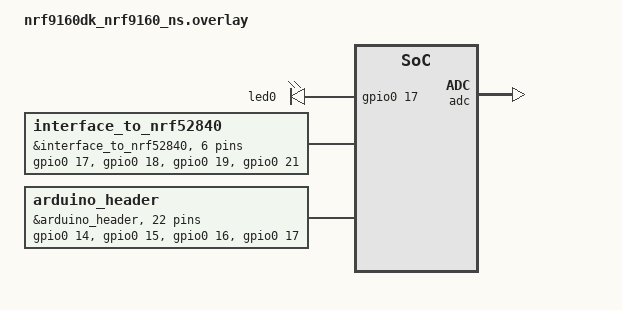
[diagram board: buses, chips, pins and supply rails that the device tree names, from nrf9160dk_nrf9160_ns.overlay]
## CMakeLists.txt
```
# SPDX-License-Identifier: Apache-2.0

cmake_minimum_required(VERSION 3.20.0)

set(COMMON_PATH ../hal_nordic-master/nrfx/samples/common)
include(${COMMON_PATH}/common.cmake)

GET_DEVICE_CONFIG_FILES(${BOARD} ../boards)

find_package(Zephyr REQUIRED HINTS $ENV{ZEPHYR_BASE})
project(adc_terminal)

target_sources(app PRIVATE src/main.c)
target_include_directories(app PRIVATE ../hal_nordic-master/nrfx/samples/common ../hal_nordic-master/nrfx/samples/src/nrfx_saadc/common)
```

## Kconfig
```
#
# Copyright (c) 2020 Nordic Semiconductor ASA
#
# SPDX-License-Identifier: LicenseRef-Nordic-5-Clause
#

menu "ADC Terminal Settings"

module = ADC_TERMINAL
module-str = ADC Terminal
source "${ZEPHYR_BASE}/subsys/logging/Kconfig.template.log_config"

endmenu

menu "Zephyr Kernel"
source "Kconfig.zephyr"
endmenu
```

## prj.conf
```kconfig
CONFIG_LOG=y
CONFIG_ADC_TERMINAL_LOG_LEVEL_INF=y
CONFIG_LOG_MODE_IMMEDIATE=y


CONFIG_ADC=y
CONFIG_NRFX_GPIOTE=y
CONFIG_NRFX_SAADC=y

CONFIG_NEWLIB_LIBC=y
CONFIG_NEWLIB_LIBC_FLOAT_PRINTF=y

CONFIG_ASSERT=y
```

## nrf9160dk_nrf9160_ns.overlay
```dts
// To get started, press Ctrl+Space (or Option+Esc) to bring up the completion menu and view the available nodes.

// You can also use the buttons in the sidebar to perform actions on nodes.
// Actions currently available include:

// * Enabling / disabling the node
// * Adding the bus to a bus
// * Removing the node
// * Connecting ADC channels

// For more help, browse the DeviceTree documentation at https://docs.zephyrproject.org/latest/guides/dts/index.html
// You can also visit the nRF DeviceTree extension documentation at https://nrfconnect.github.io/vscode-nrf-connect/devicetree/nrfdevicetree.html

&led0 {
    gpios = < &gpio0 17 0 >;
};

&interface_to_nrf52840 {
    gpio-map = <0 0 &gpio0 17 0>,
               <1 0 &gpio0 18 0>,
               <2 0 &gpio0 19 0>,
               <3 0 &gpio0 21 0>,
               <4 0 &gpio0 22 0>,
               <5 0 &gpio0 23 0>;
};

&arduino_adc {
    io-channel-map = <0 &adc 1>, <1 &adc 0>, <2 &adc 3>, <3 &adc 4>, <4 &adc 5>, <5 &adc 6>;
};

&arduino_header {
    gpio-map = <0 0 &gpio0 14 0>,
               <1 0 &gpio0 15 0>,
               <2 0 &gpio0 16 0>,
               <3 0 &gpio0 17 0>,
               <4 0 &gpio0 18 0>,
               <5 0 &gpio0 19 0>,
               <6 0 &gpio0 0 0>,
               <7 0 &gpio0 1 0>,
               <8 0 &gpio0 2 0>,
               <9 0 &gpio0 3 0>,
               <10 0 &gpio0 4 0>,
               <11 0 &gpio0 5 0>,
               <12 0 &gpio0 6 0>,
               <13 0 &gpio0 7 0>,
               <14 0 &gpio0 8 0>,
               <15 0 &gpio0 9 0>,
               <16 0 &gpio0 10 0>,
               <17 0 &gpio0 11 0>,
               <18 0 &gpio0 12 0>,
               <19 0 &gpio0 13 0>,
               <20 0 &gpio0 30 0>,
               <21 0 &gpio0 31 0>;
};


&adc {
    status = "okay";
    compatible = "nordic,nrf-saadc";
};

&gpiote {
    status = "okay";
};
```

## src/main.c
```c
#include <zephyr/kernel.h>
#include <zephyr/device.h>
#include <zephyr/drivers/gpio.h>
#include <zephyr/drivers/adc.h>
#include <zephyr/logging/log.h>
#include <stdio.h>
#include <string.h>
#include <nrfx_saadc.h>
#include <nrfx_gpiote.h>

#define ADC_1ST_CHANNEL_INPUT NRF_SAADC_INPUT_AIN1
#define BUFFER_SIZE 2UL
#define SAMPLING_ITERATIONS 4UL
#define ADC_RESOLUTION NRF_SAADC_RESOLUTION_14BIT
#define ADC_GAIN ADC_GAIN_1_4
#define ADC_REFERENCE ADC_REF_VDD_1_4
#define ADC_ACQUISITION_TIME ADC_ACQ_TIME(ADC_ACQ_TIME_MICROSECONDS, 20)
#define SLEEP_TIME_MS 700
#define ADC_OVERSAMPLING SAADC_OVERSAMPLE_OVERSAMPLE_Over256x
#define VDD_GPIO 1800
#define MAX_FLOAT_STR_SIZE 15

LOG_MODULE_REGISTER(adc_terminal, CONFIG_ADC_TERMINAL_LOG_LEVEL);

static nrf_saadc_value_t m_samples_buffer[BUFFER_SIZE];

float custom_raw_to_milli(int raw) {
    //Hard coded values, change with Gain/Resolution Stuff
    float denominator = 0.00055556; //.25/VDD_4
    int exponent = 16384; //2^RESOLUTION

    // Calculate [V(P) - V(N)]
    // char denominator_str[MAX_FLOAT_STR_SIZE];
    // snprintf(denominator_str, MAX_FLOAT_STR_SIZE, "%f", denominator);
    // LOG_INF("RAW TO MILLI %d / ((%s) * %d)\n", raw, denominator_str, exponent);
    float voltageDifference = (raw / (denominator * exponent));

    return voltageDifference;
}


static const nrfx_saadc_channel_t nrf_1st_channel = {
	.channel_config = {
		.resistor_p = NRF_SAADC_RESISTOR_DISABLED,
		.resistor_n = NRF_SAADC_RESISTOR_DISABLED,
		.gain = ADC_GAIN,
		.reference = ADC_REFERENCE,
		.acq_time = ADC_ACQUISITION_TIME,
		.mode = NRF_SAADC_MODE_SINGLE_ENDED,
		.burst = NRF_SAADC_BURST_ENABLED,
	},
	.pin_p = ADC_1ST_CHANNEL_INPUT,
	.pin_n = NRF_SAADC_INPUT_DISABLED,
	.channel_index = 0
};


int main(void)
{
	struct gpio_dt_spec p17 = GPIO_DT_SPEC_GET(DT_NODELABEL(led0), gpios);
	struct gpio_dt_spec led1 = GPIO_DT_SPEC_GET(DT_ALIAS(led1), gpios);

	if (!device_is_ready(p17.port)) return -1;
	if (!device_is_ready(led1.port)) return -1;
	
	nrfx_err_t status;
    (void)status;


    LOG_INF("Starting the nrf9160 ADC-Terminal with the reworked adc configuration.\n");

    status = nrfx_saadc_init(NRFX_SAADC_DEFAULT_CONFIG_IRQ_PRIORITY);
    NRFX_ASSERT(status == NRFX_SUCCESS);

    status = nrfx_saadc_channel_config(&nrf_1st_channel);
    NRFX_ASSERT(status == NRFX_SUCCESS);

	nrfx_saadc_adv_config_t nrf_adv_1st_cfg = {
		.oversampling = ADC_OVERSAMPLING,
		.burst = NRF_SAADC_BURST_ENABLED,
	};

	uint32_t channel_mask = nrfx_saadc_channels_configured_get();
    status = nrfx_saadc_advanced_mode_set(channel_mask,
                                          ADC_RESOLUTION,
                                          &nrf_adv_1st_cfg,
                                          NULL);
    NRFX_ASSERT(status == NRFX_SUCCESS);

    status = nrfx_saadc_buffer_set(m_samples_buffer, BUFFER_SIZE);
    NRFX_ASSERT(status == NRFX_SUCCESS);

	int err;
	err = gpio_pin_configure_dt(&p17, GPIO_OUTPUT);
	err = gpio_pin_configure_dt(&led1, GPIO_OUTPUT_ACTIVE);


	
	if (err) return err;

    uint16_t sampling_index = 0;
	while (1) {
        	err = gpio_pin_set_dt(&p17, 1);
	        err = gpio_pin_set_dt(&led1, 1);

            status = nrfx_saadc_offset_calibrate(NULL);
            NRFX_ASSERT(status == NRFX_SUCCESS);
            LOG_INF("Calibration in the blocking manner finished successfully.");

            /*
             * If function nrfx_saadc_mode_trigger() returns NRFX_ERROR_BUSY it means that the conversion in the advanced
             * blocking mode is still being performed. Then the function must be called again to continue the conversion.
             */
            while ((status = nrfx_saadc_mode_trigger()) == NRFX_ERROR_BUSY)
            {}
            NRFX_ASSERT(status == NRFX_SUCCESS);
            LOG_INF("Sample %d", sampling_index + 1);
            float volt = 0;

            for (uint32_t buffer_index = 0; buffer_index < BUFFER_SIZE; buffer_index++)
            {   
                volt = m_samples_buffer[buffer_index];
                volt = custom_raw_to_milli(volt);
                char float_str[MAX_FLOAT_STR_SIZE];
                snprintf(float_str, MAX_FLOAT_STR_SIZE, "%f", volt);
                LOG_INF("[Sample %u]", buffer_index);
                LOG_INF("Raw value == %d mV value == %s", m_samples_buffer[buffer_index], float_str);
               
            }

            status = nrfx_saadc_buffer_set(m_samples_buffer, BUFFER_SIZE);
            NRFX_ASSERT(status == NRFX_SUCCESS);

            gpio_pin_set_dt(&p17, 0);
		    gpio_pin_set_dt(&led1, 0);

            sampling_index++;

            k_msleep(SLEEP_TIME_MS);

	}

}
```
